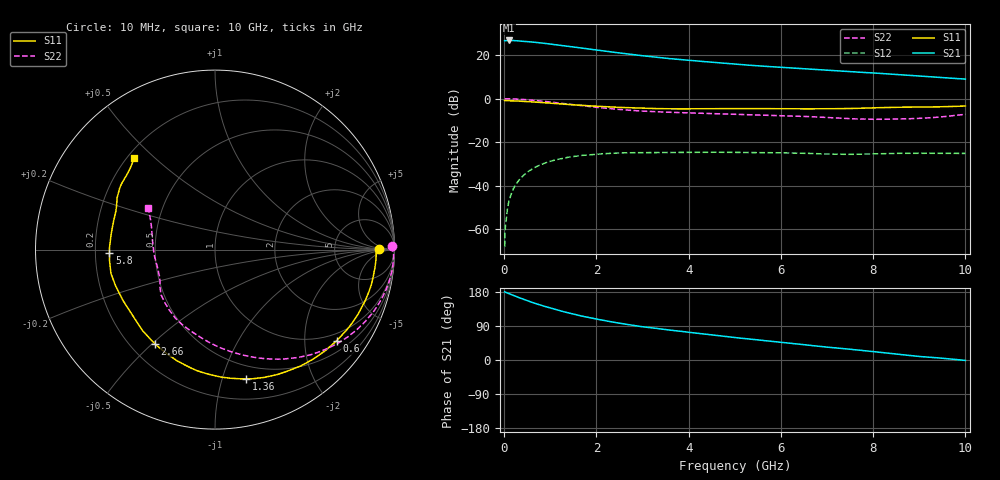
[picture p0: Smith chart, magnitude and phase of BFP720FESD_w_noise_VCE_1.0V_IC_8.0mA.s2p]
! Infineon Technologies  Discrete & RF Semiconductors
! BFP720FESD
! VCE =  1.0 V,  IC =  8.0 mA
! Common Emitter S-Parameters:  Jan 2016
# GHz  S  MA  R  50
!  f  S11  S21  S12  S22
! GHz  MAG  ANG  MAG  ANG  MAG  ANG  MAG  ANG
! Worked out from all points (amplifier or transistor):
!   233 points, 10 MHz to 10 GHz, reference 50 ohm
!   highest |S21| = 26.8 dB at 100 MHz (marker M1)
!   |S21| within 3 dB of that: start of sweep to 1.499 GHz
!   unconditionally stable (mu >= 1): start of sweep to 11.58 MHz; 6.708 GHz to end of sweep
!   at 200 MHz: K = 0.03, MSG = 34.2 dB, |S12| = -41.5 dB
!   at 1.74 GHz: K = 0.26, MSG = 24.6 dB, |S12| = -26.0 dB
!   at 10 GHz: K = 1.44, MAG = 13.2 dB, |S12| = -25.2 dB
!   lowest NFmin = 0.62 dB at 450 MHz
!   S11 on the Smith chart (normalised r, x): 10 MHz: 21, +1; 600 MHz: 0.78, -2.80; 1.36 GHz: 0.38, -1.20; 2.66 GHz: 0.30, -0.51; 5.8 GHz: 0.26, -0.02; 10 GHz: 0.23, +0.43
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0.01  0.911 0.2  21.76 179.9  0.0004 -15.8  0.9848 1.1
0.03  0.8985 -1.7  21.81 178.8  0.0012 88.4  0.9947 -1.2
0.1  0.8971 -6.2  22 175.6  0.0043 86.7  0.996 -4.4
0.2  0.8928 -12.7  21.9 170.5  0.0084 82.7  0.9894 -8.9
0.3  0.8835 -19.0  21.61 165.6  0.0124 78.8  0.9786 -13.3
0.45  0.867 -28.1  21.01 158.8  0.0183 73.5  0.9561 -19.6
0.6  0.847 -36.9  20.32 152.3  0.0238 68.3  0.9273 -25.7
0.7  0.833 -42.7  19.82 148.3  0.0272 65.1  0.9069 -29.6
0.92  0.8016 -54.6  18.64 140.0  0.034 58.2  0.8574 -37.8
1.12  0.7734 -64.9  17.57 133.0  0.0392 52.4  0.8103 -44.9
1.36  0.7405 -76.5  16.29 125.2  0.0442 46.2  0.7547 -52.9
1.68  0.7025 -90.2  14.69 116.0  0.0492 38.9  0.6881 -62.4
2.2  0.6553 -108.6  12.42 103.4  0.0543 29.7  0.6035 -76.0
2.66  0.6219 -122.7  10.8 94.0  0.0566 23.3  0.548 -86.8
3  0.6057 -131.7  9.783 87.7  0.0573 19.3  0.5181 -93.6
3.4  0.5894 -139.8  8.787 81.8  0.0575 16.5  0.4954 -99.3
4.2  0.5855 -154.4  7.367 70.4  0.0583 11.6  0.4648 -109.6
5.1  0.5932 -168.4  6.154 58.0  0.058 6.9  0.4366 -121.5
5.8  0.5883 -178.0  5.459 49.3  0.057 4.1  0.4145 -129.9
6.8  0.5851 167.1  4.671 36.6  0.054 1.8  0.3786 -143.5
8.4  0.6315 147.3  3.689 16.9  0.0549 4.8  0.3386 -173.1
10  0.6792 131.5  2.833 -1.2  0.0548 2.7  0.4372 148.0
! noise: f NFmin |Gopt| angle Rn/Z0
0.45  0.62  0.38  3  0.13
2.4  0.71  0.25  30  0.13
5.5  0.86  0.32  112  0.09
10  1.34  0.28  -156  0.1
